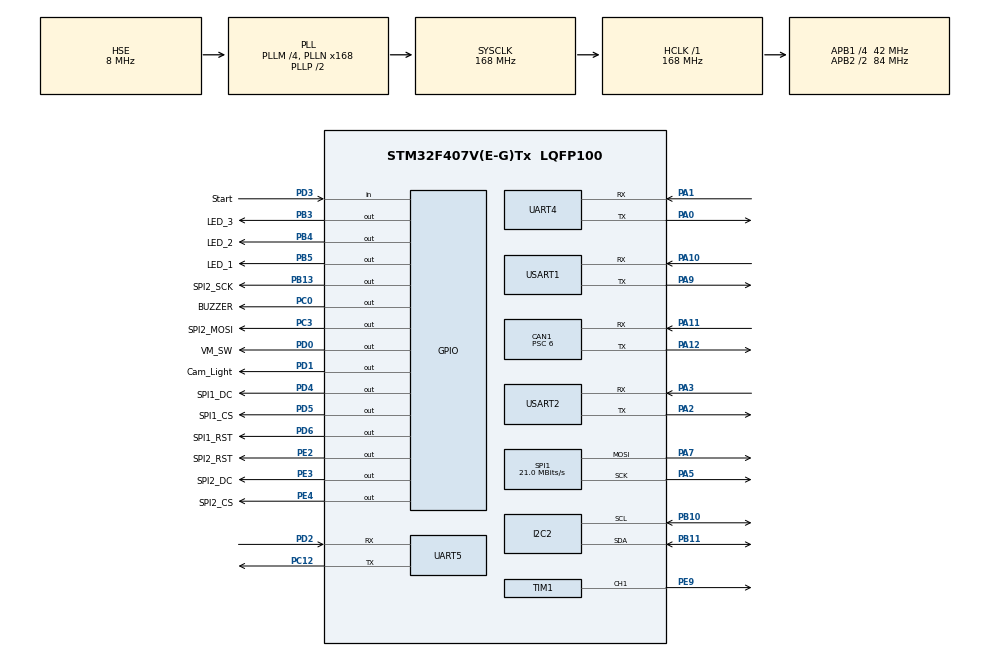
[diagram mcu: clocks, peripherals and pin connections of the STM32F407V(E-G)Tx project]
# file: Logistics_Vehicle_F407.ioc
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CAN1.BS1=CAN_BS1_3TQ
CAN1.BS2=CAN_BS2_3TQ
CAN1.CalculateBaudRate=1000000
CAN1.CalculateTimeBit=1000
CAN1.CalculateTimeQuantum=142.85714285714286
CAN1.NART=ENABLE
CAN1.Prescaler=6
Dma.Request0=USART2_RX
Dma.Request1=UART5_RX
Dma.Request2=USART1_RX
Dma.UART5_RX.1.Direction=DMA_PERIPH_TO_MEMORY
Dma.UART5_RX.1.FIFOMode=DMA_FIFOMODE_DISABLE
Dma.UART5_RX.1.Instance=DMA1_Stream0
Dma.UART5_RX.1.MemDataAlignment=DMA_MDATAALIGN_BYTE
Dma.UART5_RX.1.MemInc=DMA_MINC_ENABLE
Dma.UART5_RX.1.Mode=DMA_CIRCULAR
Dma.UART5_RX.1.PeriphDataAlignment=DMA_PDATAALIGN_BYTE
Dma.UART5_RX.1.PeriphInc=DMA_PINC_DISABLE
Dma.UART5_RX.1.Priority=DMA_PRIORITY_HIGH
Dma.USART1_RX.2.Direction=DMA_PERIPH_TO_MEMORY
Dma.USART1_RX.2.FIFOMode=DMA_FIFOMODE_DISABLE
Dma.USART1_RX.2.Instance=DMA2_Stream2
Dma.USART1_RX.2.MemDataAlignment=DMA_MDATAALIGN_BYTE
Dma.USART1_RX.2.MemInc=DMA_MINC_ENABLE
Dma.USART1_RX.2.Mode=DMA_NORMAL
Dma.USART1_RX.2.PeriphDataAlignment=DMA_PDATAALIGN_BYTE
Dma.USART1_RX.2.PeriphInc=DMA_PINC_DISABLE
Dma.USART1_RX.2.Priority=DMA_PRIORITY_VERY_HIGH
Dma.USART2_RX.0.Direction=DMA_PERIPH_TO_MEMORY
Dma.USART2_RX.0.FIFOMode=DMA_FIFOMODE_DISABLE
Dma.USART2_RX.0.Instance=DMA1_Stream5
Dma.USART2_RX.0.MemDataAlignment=DMA_MDATAALIGN_BYTE
Dma.USART2_RX.0.MemInc=DMA_MINC_ENABLE
Dma.USART2_RX.0.Mode=DMA_CIRCULAR
Dma.USART2_RX.0.PeriphDataAlignment=DMA_PDATAALIGN_BYTE
Dma.USART2_RX.0.PeriphInc=DMA_PINC_DISABLE
Dma.USART2_RX.0.Priority=DMA_PRIORITY_MEDIUM
FREERTOS.Queues01=uart2_queue,4,void *,0,Dynamic,NULL,NULL;uart5_queue,4,void *,0,Dynamic,NULL,NULL;uart1_queue,4,void *,0,Dynamic,NULL,NULL
FREERTOS.Tasks01=defaultTask,24,128,StartDefaultTask,Default,NULL,Dynamic,NULL,NULL;CHASSIS_TASK,24,128,Chassis_Task,Default,NULL,Dynamic,NULL,NULL;OUTPU_TASK,8,128,Output_Task,Default,NULL,Dynamic,NULL,NULL;UART_RX_TASK,32,256,UART_RX_Task,Default,NULL,Dynamic,NULL,NULL;MAIN_TASK,16,256,Main_Task,Default,NULL,Dynamic,NULL,NULL;TOWER_TASK,25,128,Tower_Task,Default,NULL,Dynamic,NULL,NULL
Mcu.Family=STM32F4
Mcu.Name=STM32F407V(E-G)Tx
Mcu.Package=LQFP100
NVIC.CAN1_RX0_IRQn=true\:5\:0\:false\:false\:true\:true\:true\:true\:true
NVIC.DMA1_Stream0_IRQn=true\:5\:0\:false\:false\:true\:true\:false\:true\:true
NVIC.DMA1_Stream5_IRQn=true\:5\:0\:false\:false\:true\:true\:false\:true\:true
NVIC.DMA2_Stream2_IRQn=true\:5\:0\:false\:false\:true\:true\:false\:true\:true
NVIC.PriorityGroup=NVIC_PRIORITYGROUP_4
NVIC.TIM2_IRQn=true\:5\:0\:false\:false\:true\:true\:true\:true\:true
NVIC.TIM4_IRQn=true\:15\:0\:false\:false\:true\:false\:false\:true\:true
NVIC.TimeBase=TIM4_IRQn
NVIC.TimeBaseIP=TIM4
NVIC.UART5_IRQn=true\:5\:0\:false\:false\:true\:true\:true\:true\:true
NVIC.USART1_IRQn=true\:5\:0\:false\:false\:true\:true\:true\:true\:true
NVIC.USART2_IRQn=true\:5\:0\:false\:false\:true\:true\:true\:true\:true
PA0-WKUP.Mode=Asynchronous
PA0-WKUP.Signal=UART4_TX
PA1.Mode=Asynchronous
PA1.Signal=UART4_RX
PA10.Mode=Asynchronous
PA10.Signal=USART1_RX
PA11.Mode=CAN_Activate
PA11.Signal=CAN1_RX
PA12.Mode=CAN_Activate
PA12.Signal=CAN1_TX
PA13.Mode=Serial_Wire
PA13.Signal=SYS_JTMS-SWDIO
PA14.Mode=Serial_Wire
PA14.Signal=SYS_JTCK-SWCLK
PA2.Mode=Asynchronous
PA2.Signal=USART2_TX
PA3.Mode=Asynchronous
PA3.Signal=USART2_RX
PA5.Mode=TX_Only_Simplex_Unidirect_Master
PA5.Signal=SPI1_SCK
PA7.Mode=TX_Only_Simplex_Unidirect_Master
PA7.Signal=SPI1_MOSI
PA9.Mode=Asynchronous
PA9.Signal=USART1_TX
PB10.Mode=I2C
PB10.Signal=I2C2_SCL
PB11.Mode=I2C
PB11.Signal=I2C2_SDA
PB13.GPIO_Label=SPI2_SCK
PB13.Signal=GPIO_Output
PB3.GPIO_Label=LED_3
PB3.Signal=GPIO_Output
PB4.GPIO_Label=LED_2
PB4.Signal=GPIO_Output
PB5.GPIO_Label=LED_1
PB5.Signal=GPIO_Output
PC0.GPIO_Label=BUZZER
PC0.Signal=GPIO_Output
PC12.Mode=Asynchronous
PC12.Signal=UART5_TX
PC3.GPIO_Label=SPI2_MOSI
PC3.Signal=GPIO_Output
PD0.GPIO_Label=VM_SW
PD0.Signal=GPIO_Output
PD1.GPIO_Label=Cam_Light
PD1.Signal=GPIO_Output
PD2.Mode=Asynchronous
PD2.Signal=UART5_RX
PD3.GPIO_Label=Start
PD3.GPIO_PuPd=GPIO_PULLDOWN
PD3.Signal=GPIO_Input
PD4.GPIO_Label=SPI1_DC
PD4.Signal=GPIO_Output
PD5.GPIO_Label=SPI1_CS
PD5.Signal=GPIO_Output
PD6.GPIO_Label=SPI1_RST
PD6.Signal=GPIO_Output
PE2.GPIO_Label=SPI2_RST
PE2.Signal=GPIO_Output
PE3.GPIO_Label=SPI2_DC
PE3.Signal=GPIO_Output
PE4.GPIO_Label=SPI2_CS
PE4.Signal=GPIO_Output
PE9.Signal=S_TIM1_CH1
PH0-OSC_IN.Mode=HSE-External-Oscillator
PH0-OSC_IN.Signal=RCC_OSC_IN
PH1-OSC_OUT.Mode=HSE-External-Oscillator
PH1-OSC_OUT.Signal=RCC_OSC_OUT
ProjectManager.HeapSize=0x200
ProjectManager.StackSize=0x400
ProjectManager.TargetToolchain=MDK-ARM V5.32
RCC.48MHZClocksFreq_Value=84000000
RCC.AHBFreq_Value=168000000
RCC.APB1CLKDivider=RCC_HCLK_DIV4
RCC.APB1Freq_Value=42000000
RCC.APB1TimFreq_Value=84000000
RCC.APB2CLKDivider=RCC_HCLK_DIV2
RCC.APB2Freq_Value=84000000
RCC.APB2TimFreq_Value=168000000
RCC.CortexFreq_Value=168000000
RCC.HCLKFreq_Value=168000000
RCC.HSE_VALUE=8000000
RCC.HSI_VALUE=16000000
RCC.LSE_VALUE=32768
RCC.PLLM=4
RCC.PLLN=168
RCC.PLLSourceVirtual=RCC_PLLSOURCE_HSE
RCC.SYSCLKFreq_VALUE=168000000
RCC.SYSCLKSource=RCC_SYSCLKSOURCE_PLLCLK
RCC.VCOOutputFreq_Value=336000000
SH.S_TIM1_CH1.0=TIM1_CH1,PWM Generation1 CH1
SPI1.BaudRatePrescaler=SPI_BAUDRATEPRESCALER_4
SPI1.CalculateBaudRate=21.0 MBits/s
SPI1.Direction=SPI_DIRECTION_2LINES
SPI1.Mode=SPI_MODE_MASTER
SPI1.VirtualType=VM_MASTER
TIM1.Channel-PWM\ Generation1\ CH1=TIM_CHANNEL_1
TIM1.Period=1999
TIM1.Prescaler=1679
UART4.VirtualMode=Asynchronous
UART5.VirtualMode=Asynchronous
USART1.VirtualMode=VM_ASYNC
USART2.VirtualMode=VM_ASYNC
VP_FREERTOS_VS_CMSIS_V2.Mode=CMSIS_V2
VP_SYS_VS_tim4.Mode=TIM4
VP_TIM1_VS_ClockSourceINT.Mode=Internal
VP_TIM2_VS_ClockSourceINT.Mode=Internal
board=custom

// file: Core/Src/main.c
/* USER CODE BEGIN Header */
/**
  ******************************************************************************
  * @file           : main.c
  * @brief          : Main program body
  ******************************************************************************
  * @attention
  *
  * Copyright (c) 2024 STMicroelectronics.
  * All rights reserved.
  *
  * This software is licensed under terms that can be found in the LICENSE file
  * in the root directory of this software component.
  * If no LICENSE file comes with this software, it is provided AS-IS.
  *
  ******************************************************************************
  */
/* USER CODE END Header */
#include "main.h"
#include "cmsis_os.h"
#include "can.h"
#include "dma.h"
#include "i2c.h"
#include "spi.h"
#include "tim.h"
#include "usart.h"
#include "gpio.h"

/* USER CODE BEGIN PV */
struct RC_DATA RC_RX;
uint8_t color_task[6]={0};

int circle_x[3]={880,1025,1160};  //红 绿 蓝
int circle_y[3]={1150,990,840};   //红 绿 蓝
struct VISUAL_DATA VIS_RX;  //视觉接收数据

int SpeedTarget[4]={0};

float pos_x=0;
float pos_y=0;
float zangle=0;
float xangle=0;
float yangle=0;
float w_z=0;

/* 先定义好存放数据的空间，队列大小是5，这里就定义5个。 */
UART2_RX_TypeDef uart2_rx_data_t[UART_BUFFER_QUANTITY];
UART5_RX_TypeDef uart5_rx_data_t[UART_BUFFER_QUANTITY];
UART1_RX_TypeDef uart1_rx_data_t[UART_BUFFER_QUANTITY];
/* 定义一个变量用作分配上面定义的数据 */
uint8_t uart2_buff_ctrl = 0;
uint8_t uart5_buff_ctrl = 0;
uint8_t uart1_buff_ctrl = 0;
/* 引用串口DMA handle  */
extern DMA_HandleTypeDef hdma_usart2_rx;
extern DMA_HandleTypeDef hdma_uart5_rx;
extern DMA_HandleTypeDef hdma_usart1_rx;
/* 队列 handle。去freertos.c文件里面找CubeMX给你创建好的。 */
extern osMessageQId uart2_queueHandle;
extern osMessageQId uart5_queueHandle;
extern osMessageQId uart1_queueHandle;

/* USER CODE END PV */

void SystemClock_Config(void);
void MX_FREERTOS_Init(void);

/* USER CODE BEGIN 0 */
/* Redirect printf function */
int fputc(int ch, FILE *f)
{
    HAL_UART_Transmit(&huart2, (uint8_t *)&ch, 1, 1000);
    return (ch);
}

void USART2_DMAHandler(void)
{
    if (RESET != __HAL_UART_GET_FLAG(&huart2, UART_FLAG_IDLE)) // 判断是否是空闲中断
    {
        UART2_RX_TypeDef *pUart2Data; /* 定义指向创建串口数据的指针 */

        __HAL_UART_CLEAR_IDLEFLAG(&huart2); // 清除空闲中断标志
        HAL_UART_DMAStop(&huart2);          // 停止本次DMA传输

        /* 计算接收到的数据长度，放进串口数据结构体中 */
        uart2_rx_data_t[uart2_buff_ctrl].size = UART2_BUFFER_SIZE - __HAL_DMA_GET_COUNTER(&hdma_usart2_rx);
        /* 将这个串口数据的结构体地址给指针 */
        pUart2Data = &uart2_rx_data_t[uart2_buff_ctrl];
        /* 把指向串口接收数据的指针放入消息队列。注意，这里传的是指针的地址，也就是指针串口数据结构体的指针的地址不能传pUartData本身 */
        xQueueSendFromISR(uart2_queueHandle, &pUart2Data, NULL);
        /* 这里进行加一，使其下一次DMA传输时将接收的数据放到下一个串口缓冲区中 */
        uart2_buff_ctrl++;
        /* 取余操作防止越界 */
        uart2_buff_ctrl %= UART_BUFFER_QUANTITY;
        /* 重启开始DMA传输 */
        HAL_UART_Receive_DMA(&huart2, uart2_rx_data_t[uart2_buff_ctrl].buffer, UART2_BUFFER_SIZE);
    }
}

void USART5_DMAHandler(void)
{
    if (RESET != __HAL_UART_GET_FLAG(&huart5, UART_FLAG_IDLE)) // 判断是否是空闲中断
    {
        UART5_RX_TypeDef *pUart5Data; /* 定义指向创建串口数据的指针 */

        __HAL_UART_CLEAR_IDLEFLAG(&huart5); // 清除空闲中断标志
        HAL_UART_DMAStop(&huart5);          // 停止本次DMA传输

        /* 计算接收到的数据长度，放进串口数据结构体中 */
        uart5_rx_data_t[uart5_buff_ctrl].size = UART5_BUFFER_SIZE - __HAL_DMA_GET_COUNTER(&hdma_uart5_rx);
        /* 将这个串口数据的结构体地址给指针 */
        pUart5Data = &uart5_rx_data_t[uart5_buff_ctrl];
        /* 把指向串口接收数据的指针放入消息队列。注意，这里传的是指针的地址，也就是指针串口数据结构体的指针的地址不能传pUartData本身 */
        xQueueSendFromISR(uart5_queueHandle, &pUart5Data, NULL);
        /* 这里进行加一，使其下一次DMA传输时将接收的数据放到下一个串口缓冲区中 */
        uart5_buff_ctrl++;
        /* 取余操作防止越界 */
        uart5_buff_ctrl %= UART_BUFFER_QUANTITY;
        /* 重启开始DMA传输 */
        HAL_UART_Receive_DMA(&huart5, uart5_rx_data_t[uart5_buff_ctrl].buffer, UART5_BUFFER_SIZE);
    }
}

void USART1_DMAHandler(void)
{
    if (RESET != __HAL_UART_GET_FLAG(&huart1, UART_FLAG_IDLE)) // 判断是否是空闲中断
    {
        UART1_RX_TypeDef *pUart1Data; /* 定义指向创建串口数据的指针 */

        __HAL_UART_CLEAR_IDLEFLAG(&huart1); // 清除空闲中断标志
        HAL_UART_DMAStop(&huart1);          // 停止本次DMA传输

        /* 计算接收到的数据长度，放进串口数据结构体中 */
        uart1_rx_data_t[uart1_buff_ctrl].size = UART1_BUFFER_SIZE - __HAL_DMA_GET_COUNTER(&hdma_usart1_rx);
        /* 将这个串口数据的结构体地址给指针 */
        pUart1Data = &uart1_rx_data_t[uart1_buff_ctrl];
        /* 把指向串口接收数据的指针放入消息队列。注意，这里传的是指针的地址，也就是指针串口数据结构体的指针的地址不能传pUartData本身 */
        xQueueSendFromISR(uart1_queueHandle, &pUart1Data, NULL);
        /* 这里进行加一，使其下一次DMA传输时将接收的数据放到下一个串口缓冲区中 */
        uart1_buff_ctrl++;
        /* 取余操作防止越界 */
        uart1_buff_ctrl %= UART_BUFFER_QUANTITY;
        /* 重启开始DMA传输 */
        HAL_UART_Receive_DMA(&huart1, uart1_rx_data_t[uart1_buff_ctrl].buffer, UART1_BUFFER_SIZE);
    }
}

/* USER CODE END 0 */

int main(void)
{

  /* MCU Configuration--------------------------------------------------------*/

  /* Reset of all peripherals, Initializes the Flash interface and the Systick. */
  HAL_Init();

  /* Configure the system clock */
  SystemClock_Config();

  /* Initialize all configured peripherals */
  MX_GPIO_Init();
  MX_DMA_Init();
  MX_CAN1_Init();
  MX_I2C2_Init();
  MX_SPI1_Init();
  MX_TIM1_Init();
  MX_TIM2_Init();
  MX_UART4_Init();
  MX_UART5_Init();
  MX_USART1_UART_Init();
  MX_USART2_UART_Init();
  /* USER CODE BEGIN 2 */

	__HAL_UART_ENABLE_IT(&huart2, UART_IT_IDLE);    //使能串口中断
  HAL_UART_Receive_DMA(&huart2, uart2_rx_data_t[uart2_buff_ctrl].buffer, UART2_BUFFER_SIZE);    //使能串口DMA
	__HAL_UART_ENABLE_IT(&huart5, UART_IT_IDLE);
  HAL_UART_Receive_DMA(&huart5, uart5_rx_data_t[uart5_buff_ctrl].buffer, UART5_BUFFER_SIZE);

	__HAL_UART_ENABLE_IT(&huart1, UART_IT_IDLE);    //使能串口中断
  HAL_UART_Receive_DMA(&huart1, uart1_rx_data_t[uart1_buff_ctrl].buffer, UART1_BUFFER_SIZE);    //使能串口DMA

  /* USER CODE END 2 */

  /* Init scheduler */
  osKernelInitialize();

  /* Call init function for freertos objects (in cmsis_os2.c) */
  MX_FREERTOS_Init();

  /* Start scheduler */
  osKernelStart();

  /* We should never get here as control is now taken by the scheduler */

  /* Infinite loop */
  while (1)
  {

  }
}

void SystemClock_Config(void)
{
  RCC_OscInitTypeDef RCC_OscInitStruct = {0};
  RCC_ClkInitTypeDef RCC_ClkInitStruct = {0};

  /** Configure the main internal regulator output voltage
  */
  __HAL_RCC_PWR_CLK_ENABLE();
  __HAL_PWR_VOLTAGESCALING_CONFIG(PWR_REGULATOR_VOLTAGE_SCALE1);

  /** Initializes the RCC Oscillators according to the specified parameters
  * in the RCC_OscInitTypeDef structure.
  */
  RCC_OscInitStruct.OscillatorType = RCC_OSCILLATORTYPE_HSE;
  RCC_OscInitStruct.HSEState = RCC_HSE_ON;
  RCC_OscInitStruct.PLL.PLLState = RCC_PLL_ON;
  RCC_OscInitStruct.PLL.PLLSource = RCC_PLLSOURCE_HSE;
  RCC_OscInitStruct.PLL.PLLM = 4;
  RCC_OscInitStruct.PLL.PLLN = 168;
  RCC_OscInitStruct.PLL.PLLP = RCC_PLLP_DIV2;
  RCC_OscInitStruct.PLL.PLLQ = 4;
  if (HAL_RCC_OscConfig(&RCC_OscInitStruct) != HAL_OK)
  {
    Error_Handler();
  }

  /** Initializes the CPU, AHB and APB buses clocks
  */
  RCC_ClkInitStruct.ClockType = RCC_CLOCKTYPE_HCLK|RCC_CLOCKTYPE_SYSCLK
                              |RCC_CLOCKTYPE_PCLK1|RCC_CLOCKTYPE_PCLK2;
  RCC_ClkInitStruct.SYSCLKSource = RCC_SYSCLKSOURCE_PLLCLK;
  RCC_ClkInitStruct.AHBCLKDivider = RCC_SYSCLK_DIV1;
  RCC_ClkInitStruct.APB1CLKDivider = RCC_HCLK_DIV4;
  RCC_ClkInitStruct.APB2CLKDivider = RCC_HCLK_DIV2;

  if (HAL_RCC_ClockConfig(&RCC_ClkInitStruct, FLASH_LATENCY_5) != HAL_OK)
  {
    Error_Handler();
  }
}

/* USER CODE BEGIN 4 */
void HAL_CAN_RxFifo0MsgPendingCallback(CAN_HandleTypeDef *hcan)
{
    /* CAN1 接收中断 */
    if(hcan->Instance == CAN1)
    {
        CAN_RxHeaderTypeDef   Rx_Header;
        uint8_t data[8];
        if (HAL_CAN_GetRxMessage(&hcan1, CAN_RX_FIFO0,&Rx_Header, data) == HAL_OK)
        {
            Response_Handle(Rx_Header.ExtId,Rx_Header.StdId, data);
        }
    }
}

/* USER CODE END 4 */

void HAL_TIM_PeriodElapsedCallback(TIM_HandleTypeDef *htim)
{
  if (htim->Instance == TIM4) {
    HAL_IncTick();
  }
}

void Error_Handler(void)
{
  __disable_irq();
  while (1)
  {
  }
}

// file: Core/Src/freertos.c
/* USER CODE BEGIN Header */
/**
  ******************************************************************************
  * File Name          : freertos.c
  * Description        : Code for freertos applications
  ******************************************************************************
  * @attention
  *
  * Copyright (c) 2024 STMicroelectronics.
  * All rights reserved.
  *
  * This software is licensed under terms that can be found in the LICENSE file
  * in the root directory of this software component.
  * If no LICENSE file comes with this software, it is provided AS-IS.
  *
  ******************************************************************************
  */
/* USER CODE END Header */

#include "FreeRTOS.h"
#include "task.h"
#include "main.h"
#include "cmsis_os.h"

/* USER CODE BEGIN Includes */
#include "Main_task.h"

/* USER CODE END Includes */

/* Definitions for defaultTask */
osThreadId_t defaultTaskHandle;
const osThreadAttr_t defaultTask_attributes = {
  .name = "defaultTask",
  .stack_size = 128 * 4,
  .priority = (osPriority_t) osPriorityNormal,
};
/* Definitions for CHASSIS_TASK */
osThreadId_t CHASSIS_TASKHandle;
const osThreadAttr_t CHASSIS_TASK_attributes = {
  .name = "CHASSIS_TASK",
  .stack_size = 128 * 4,
  .priority = (osPriority_t) osPriorityNormal,
};
/* Definitions for OUTPU_TASK */
osThreadId_t OUTPU_TASKHandle;
const osThreadAttr_t OUTPU_TASK_attributes = {
  .name = "OUTPU_TASK",
  .stack_size = 128 * 4,
  .priority = (osPriority_t) osPriorityLow,
};
/* Definitions for UART_RX_TASK */
osThreadId_t UART_RX_TASKHandle;
const osThreadAttr_t UART_RX_TASK_attributes = {
  .name = "UART_RX_TASK",
  .stack_size = 256 * 4,
  .priority = (osPriority_t) osPriorityAboveNormal,
};
/* Definitions for MAIN_TASK */
osThreadId_t MAIN_TASKHandle;
const osThreadAttr_t MAIN_TASK_attributes = {
  .name = "MAIN_TASK",
  .stack_size = 256 * 4,
  .priority = (osPriority_t) osPriorityBelowNormal,
};
/* Definitions for TOWER_TASK */
osThreadId_t TOWER_TASKHandle;
const osThreadAttr_t TOWER_TASK_attributes = {
  .name = "TOWER_TASK",
  .stack_size = 128 * 4,
  .priority = (osPriority_t) osPriorityNormal1,
};
/* Definitions for uart2_queue */
osMessageQueueId_t uart2_queueHandle;
const osMessageQueueAttr_t uart2_queue_attributes = {
  .name = "uart2_queue"
};
/* Definitions for uart5_queue */
osMessageQueueId_t uart5_queueHandle;
const osMessageQueueAttr_t uart5_queue_attributes = {
  .name = "uart5_queue"
};
/* Definitions for uart1_queue */
osMessageQueueId_t uart1_queueHandle;
const osMessageQueueAttr_t uart1_queue_attributes = {
  .name = "uart1_queue"
};

void StartDefaultTask(void *argument);
void Chassis_Task(void *argument);
void Output_Task(void *argument);
void UART_RX_Task(void *argument);
void Main_Task(void *argument);
void Tower_Task(void *argument);

void MX_FREERTOS_Init(void); /* (MISRA C 2004 rule 8.1) */

void MX_FREERTOS_Init(void) {

  /* Create the queue(s) */
  /* creation of uart2_queue */
  uart2_queueHandle = osMessageQueueNew (4, sizeof(void *), &uart2_queue_attributes);

  /* creation of uart5_queue */
  uart5_queueHandle = osMessageQueueNew (4, sizeof(void *), &uart5_queue_attributes);

  /* creation of uart1_queue */
  uart1_queueHandle = osMessageQueueNew (4, sizeof(void *), &uart1_queue_attributes);

  /* Create the thread(s) */
  /* creation of defaultTask */
  defaultTaskHandle = osThreadNew(StartDefaultTask, NULL, &defaultTask_attributes);

  /* creation of CHASSIS_TASK */
  CHASSIS_TASKHandle = osThreadNew(Chassis_Task, NULL, &CHASSIS_TASK_attributes);

  /* creation of OUTPU_TASK */
  OUTPU_TASKHandle = osThreadNew(Output_Task, NULL, &OUTPU_TASK_attributes);

  /* creation of UART_RX_TASK */
  UART_RX_TASKHandle = osThreadNew(UART_RX_Task, NULL, &UART_RX_TASK_attributes);

  /* creation of MAIN_TASK */
  MAIN_TASKHandle = osThreadNew(Main_Task, NULL, &MAIN_TASK_attributes);

  /* creation of TOWER_TASK */
  TOWER_TASKHandle = osThreadNew(Tower_Task, NULL, &TOWER_TASK_attributes);

}

void StartDefaultTask(void *argument)
{
  for(;;)
  {
    osDelay(1);
  }
}

void Chassis_Task(void *argument)
{
  /* USER CODE BEGIN Chassis_Task */
  /* Infinite loop */
  for(;;)
  {
    Chassis_task();
  }
  /* USER CODE END Chassis_Task */
}

void Output_Task(void *argument)
{
  /* USER CODE BEGIN Output_Task */
  /* Infinite loop */
  for(;;)
  {
    Output_task();
  }
  /* USER CODE END Output_Task */
}

void UART_RX_Task(void *argument)
{
  /* USER CODE BEGIN UART_RX_Task */

	//UART1 -- NANO
	//UART2 -- OPS
	//UART4 -- Chassis
	//UART5 -- RC
	//UART6 -- ESP07

	UART2_RX_TypeDef *pRecvUart2Data; /* 定义指向串口数据的指针 */
	UART5_RX_TypeDef *pRecvUart5Data; /* 定义指向串口数据的指针 */
	UART1_RX_TypeDef *pRecvUart1Data; /* 定义指向串口数据的指针 */
	printf("Uart Thread init. \r\n");
	osDelay(500);
//	System_message("Uart RX init");

  /* Infinite loop */
  for(;;)
  {
    /* 一直等待直到有数据 */
    /* 参数1：队列handle */
    /* 参数2：放入接收消息的指针，也就是让它指向串口中断中已接收串口数据完成的结构体 */
    /* 参数3：等待时间，这里是等待永久，直到有数据 */
    if (xQueueReceive(uart2_queueHandle, &pRecvUart2Data, 0) == pdTRUE)
    {
        /* 打印或处理接收到的数据 */
			  POS_Data_Unpack(pRecvUart2Data->buffer);
    }
		if (xQueueReceive(uart5_queueHandle, &pRecvUart5Data, 0) == pdTRUE)
    {
        /* 打印或处理接收到的数据 */
		  	RC_Data_Unpack(pRecvUart5Data->buffer);
    }
		if (xQueueReceive(uart1_queueHandle, &pRecvUart1Data, 0) == pdTRUE)
    {
        /* 打印或处理接收到的数据 */
        NANO_Data_Unpack(pRecvUart1Data->buffer);     //NANO接收解包
    }
		osDelay(5);
  }
  /* USER CODE END UART_RX_Task */
}

void Main_Task(void *argument)
{
  /* USER CODE BEGIN Main_Task */
  /* Infinite loop */
  for(;;)
  {
    Main_task();
  }
  /* USER CODE END Main_Task */
}

void Tower_Task(void *argument)
{
  /* USER CODE BEGIN Tower_Task */
  /* Infinite loop */
  for(;;)
  {
    Tower_task();
  }
  /* USER CODE END Tower_Task */
}
